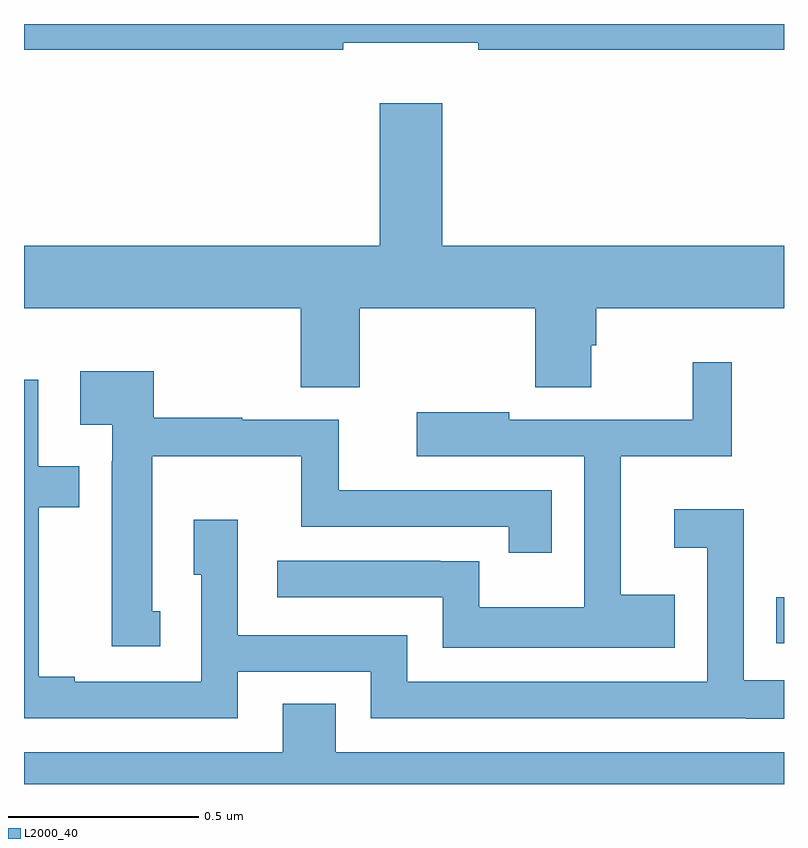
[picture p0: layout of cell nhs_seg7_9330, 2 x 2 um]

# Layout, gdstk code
import gdstk
lib = gdstk.Library(unit=1e-6, precision=1e-09)
def R(c, l, rs):  # rectangles x0, y0, x1, y1
    for r in rs: c.add(gdstk.rectangle(r[:2], r[2:], *l))
def P(c, l, *ps):  # polygons
    for p in ps: c.add(gdstk.Polygon(p, *l))
L2000_40 = (2000, 40)

nhs_seg7_9330 = lib.new_cell('nhs_seg7_9330')
R(nhs_seg7_9330, L2000_40, [(237.979,1030.371,238,1030.491)])
P(nhs_seg7_9330, L2000_40, [(236.84,1031.951),(237.196,1031.951),(237.196,1031.932),(238,1031.932),(238,1032),(236,1032),(236,1031.932),(236.84,1031.932)],
  [(236.883,1031.252),(237.346,1031.252),(237.346,1031.044),(237.493,1031.044),(237.493,1031.154),(237.506,1031.154),(237.506,1031.252),(238,1031.252),(238,1031.416),(237.1,1031.416),(237.1,1031.791),(236.936,1031.791),(236.936,1031.416),(236,1031.416),(236,1031.252),(236.728,1031.252),(236.728,1031.044),(236.883,1031.044)],
  [(237.713,1030.498),(237.571,1030.498),(237.571,1030.862),(237.862,1030.862),(237.862,1031.11),(237.76,1031.11),(237.76,1030.959),(237.277,1030.959),(237.277,1030.978),(237.033,1030.978),(237.033,1030.863),(237.474,1030.863),(237.474,1030.465),(237.198,1030.465),(237.198,1030.586),(237.095,1030.586),(237.095,1030.587),(236.667,1030.587),(236.667,1030.491),(237.102,1030.491),(237.102,1030.358),(237.713,1030.358)],
  [(236.359,1030.455),(236.338,1030.455),(236.338,1030.862),(236.729,1030.862),(236.729,1030.677),(237.276,1030.677),(237.276,1030.608),(237.389,1030.608),(237.389,1030.773),(236.828,1030.773),(236.828,1030.959),(236.574,1030.959),(236.574,1030.964),(236.341,1030.964),(236.341,1031.086),(236.148,1031.086),(236.148,1030.946),(236.232,1030.946),(236.232,1030.85),(236.231,1030.85),(236.231,1030.362),(236.359,1030.362)],
  [(238,1030.273),(237.894,1030.273),(237.894,1030.723),(237.711,1030.723),(237.711,1030.622),(237.798,1030.622),(237.798,1030.269),(237.009,1030.269),(237.009,1030.392),(236.562,1030.392),(236.562,1030.696),(236.447,1030.696),(236.447,1030.551),(236.466,1030.551),(236.466,1030.269),(236.134,1030.269),(236.134,1030.282),(236.039,1030.282),(236.039,1030.728),(236.146,1030.728),(236.146,1030.836),(236.037,1030.836),(236.037,1031.064),(236,1031.064),(236,1030.173),(236.562,1030.173),(236.562,1030.296),(236.913,1030.296),(236.913,1030.173),(237.901,1030.173),(237.901,1030.172),(238,1030.172)],
  [(238,1030.084),(236.821,1030.084),(236.821,1030.211),(236.681,1030.211),(236.681,1030.084),(236,1030.084),(236,1030),(238,1030)])

lib.write_gds('nhs_seg7_9330.gds')
